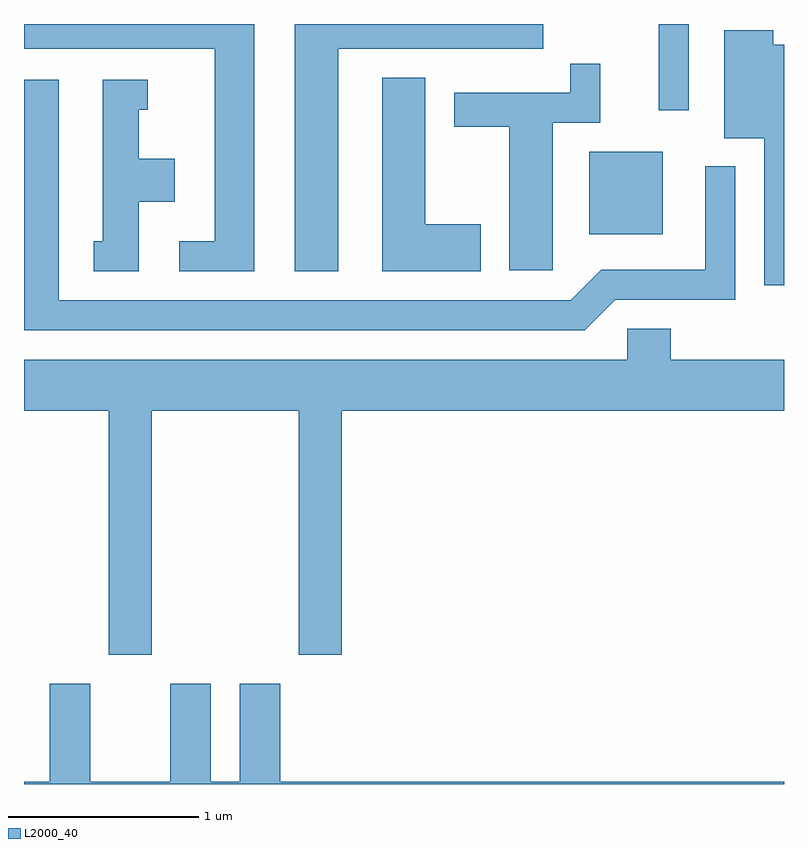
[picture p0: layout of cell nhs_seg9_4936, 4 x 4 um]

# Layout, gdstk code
import gdstk
lib = gdstk.Library(unit=1e-6, precision=1e-09)
def R(c, l, rs):  # rectangles x0, y0, x1, y1
    for r in rs: c.add(gdstk.rectangle(r[:2], r[2:], *l))
def P(c, l, *ps):  # polygons
    for p in ps: c.add(gdstk.Polygon(p, *l))
L2000_40 = (2000, 40)

nhs_seg9_4936 = lib.new_cell('nhs_seg9_4936')
R(nhs_seg9_4936, L2000_40, [(332.586,2079.326,332.974,2079.759), (332.951,2079.978,333.109,2080.432)])
P(nhs_seg9_4936, L2000_40, [(330.824,2080.432),(329.611,2080.432),(329.611,2080.301),(330.616,2080.301),(330.616,2079.289),(330.428,2079.289),(330.428,2079.131),(330.824,2079.131)],
  [(331.264,2080.301),(332.343,2080.301),(332.343,2080.432),(331.036,2080.432),(331.036,2079.131),(331.264,2079.131)],
  [(333.611,2080.324),(333.554,2080.324),(333.554,2080.399),(333.296,2080.399),(333.296,2079.831),(333.506,2079.831),(333.506,2079.058),(333.611,2079.058)],
  [(332.394,2079.911),(332.644,2079.911),(332.644,2080.222),(332.486,2080.222),(332.486,2080.069),(331.876,2080.069),(331.876,2079.891),(332.166,2079.891),(332.166,2079.136),(332.394,2079.136)],
  [(332.014,2079.379),(331.724,2079.379),(331.724,2080.149),(331.496,2080.149),(331.496,2079.131),(332.014,2079.131)],
  [(330.214,2079.496),(330.404,2079.496),(330.404,2079.724),(330.214,2079.724),(330.214,2079.981),(330.263,2079.981),(330.263,2080.139),(330.026,2080.139),(330.026,2079.289),(329.978,2079.289),(329.978,2079.131),(330.214,2079.131)],
  [(332.722,2078.981),(333.354,2078.981),(333.354,2079.683),(333.196,2079.683),(333.196,2079.139),(332.649,2079.139),(332.489,2078.979),(329.794,2078.979),(329.794,2080.139),(329.611,2080.139),(329.611,2078.821),(332.562,2078.821)],
  [(330.284,2078.396),(331.056,2078.396),(331.056,2077.111),(331.284,2077.111),(331.284,2078.396),(333.611,2078.396),(333.611,2078.664),(333.014,2078.664),(333.014,2078.829),(332.786,2078.829),(332.786,2078.664),(329.611,2078.664),(329.611,2078.396),(330.056,2078.396),(330.056,2077.111),(330.284,2077.111)],
  [(333.611,2076.444),(330.959,2076.444),(330.959,2076.959),(330.746,2076.959),(330.746,2076.444),(330.594,2076.444),(330.594,2076.959),(330.381,2076.959),(330.381,2076.444),(329.959,2076.444),(329.959,2076.959),(329.746,2076.959),(329.746,2076.444),(329.611,2076.444),(329.611,2076.432),(333.611,2076.432)])

lib.write_gds('nhs_seg9_4936.gds')
